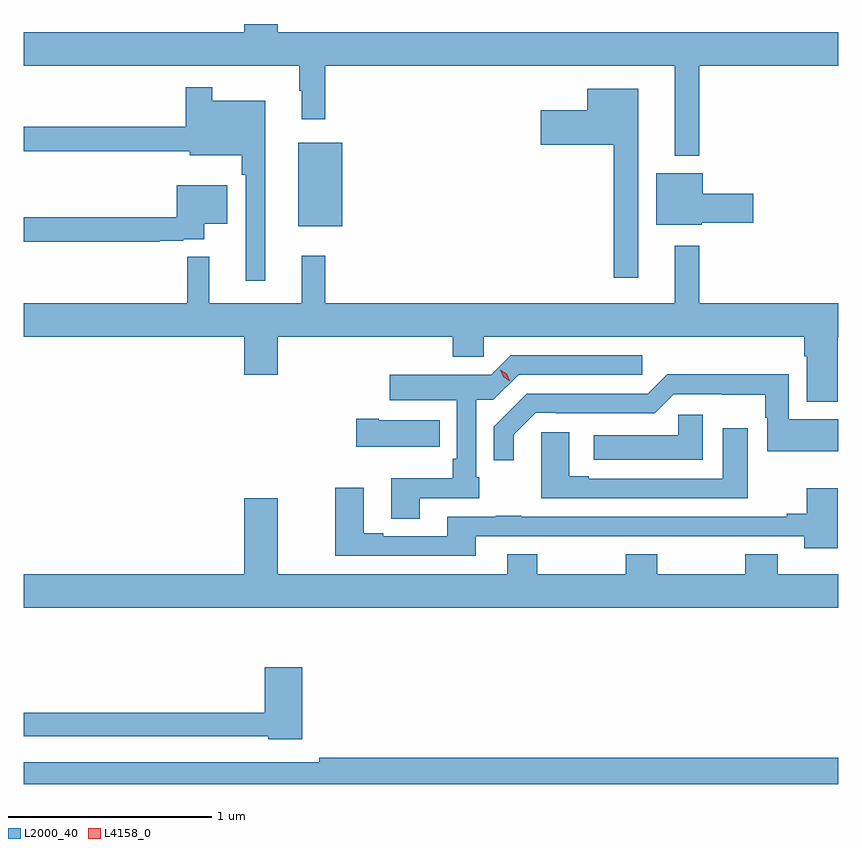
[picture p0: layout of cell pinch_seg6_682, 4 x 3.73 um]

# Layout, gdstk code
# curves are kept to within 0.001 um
import gdstk
lib = gdstk.Library(unit=1e-6, precision=1e-09)
def R(c, l, rs):  # rectangles x0, y0, x1, y1
    for r in rs: c.add(gdstk.rectangle(r[:2], r[2:], *l))
def P(c, l, *ps):  # polygons
    for p in ps: c.add(gdstk.Polygon(p, *l))
L2000_40 = (2000, 40)
L4158_0 = (4158, 0)

pinch_seg6_682 = lib.new_cell('pinch_seg6_682')
R(pinch_seg6_682, L2000_40, [(476.963,929.231,477.178,929.641)])
P(pinch_seg6_682, L2000_40, [(476.86,930.224),(476.696,930.224),(476.696,930.184),(475.614,930.184),(475.614,930.02),(476.967,930.02),(476.967,929.897),(476.978,929.897),(476.978,929.757),(477.095,929.757),(477.095,930.02),(478.811,930.02),(478.811,929.576),(478.933,929.576),(478.933,930.02),(479.614,930.02),(479.614,930.184),(476.86,930.184)],
  [(476.8,929.848),(476.539,929.848),(476.539,929.914),(476.41,929.914),(476.41,929.719),(475.614,929.719),(475.614,929.598),(476.429,929.598),(476.429,929.579),(476.683,929.579),(476.683,929.483),(476.703,929.483),(476.703,928.962),(476.8,928.962)],
  [(478.633,929.905),(478.382,929.905),(478.382,929.8),(478.152,929.8),(478.152,929.63),(478.512,929.63),(478.512,928.977),(478.633,928.977)],
  [(478.944,929.248),(479.197,929.248),(479.197,929.39),(478.948,929.39),(478.948,929.491),(478.721,929.491),(478.721,929.237),(478.944,929.237)],
  [(476.282,929.16),(476.396,929.16),(476.396,929.166),(476.5,929.166),(476.5,929.243),(476.614,929.243),(476.614,929.431),(476.366,929.431),(476.366,929.275),(475.614,929.275),(475.614,929.154),(476.282,929.154)],
  [(477.095,929.086),(476.978,929.086),(476.978,928.852),(476.525,928.852),(476.525,929.081),(476.416,929.081),(476.416,928.852),(475.614,928.852),(475.614,928.688),(476.696,928.688),(476.696,928.5),(476.86,928.5),(476.86,928.688),(477.722,928.688),(477.722,928.59),(477.873,928.59),(477.873,928.688),(479.447,928.688),(479.447,928.592),(479.459,928.592),(479.459,928.368),(479.612,928.368),(479.612,928.688),(479.614,928.688),(479.614,928.852),(478.933,928.852),(478.933,929.134),(478.811,929.134),(478.811,928.852),(477.095,928.852)],
  [(477.559,927.894),(477.85,927.894),(477.85,927.997),(477.837,927.997),(477.837,928.377),(477.921,928.377),(478.044,928.5),(478.651,928.5),(478.651,928.596),(478.007,928.596),(477.911,928.5),(477.411,928.501),(477.411,928.376),(477.741,928.376),(477.741,928.087),(477.721,928.087),(477.721,927.991),(477.419,927.991),(477.419,927.793),(477.559,927.793)],
  [(478.021,928.207),(478.128,928.314),(478.228,928.314),(478.228,928.311),(478.713,928.311),(478.806,928.404),(479.257,928.403),(479.257,928.29),(479.267,928.29),(479.267,928.124),(479.614,928.124),(479.614,928.282),(479.371,928.282),(479.371,928.502),(478.775,928.502),(478.68,928.407),(478.085,928.407),(477.922,928.244),(477.922,928.08),(478.021,928.08)],
  [(478.948,928.303),(478.828,928.303),(478.828,928.204),(478.413,928.204),(478.413,928.082),(478.948,928.082)],
  [(477.656,928.276),(477.358,928.276),(477.358,928.284),(477.246,928.284),(477.246,928.148),(477.656,928.148)],
  [(479.17,928.237),(479.048,928.237),(479.048,927.99),(478.39,927.99),(478.39,928.003),(478.294,928.003),(478.294,928.219),(478.156,928.219),(478.156,927.894),(479.17,927.894)],
  [(477.835,927.708),(478.225,927.708),(478.225,927.707),(478.481,927.707),(478.481,927.708),(478.813,927.708),(478.813,927.707),(479.069,927.707),(479.069,927.708),(479.447,927.708),(479.447,927.648),(479.612,927.648),(479.612,927.943),(479.459,927.943),(479.459,927.817),(479.363,927.817),(479.363,927.804),(478.058,927.804),(478.058,927.809),(477.931,927.809),(477.931,927.804),(477.695,927.804),(477.695,927.708),(477.379,927.708),(477.379,927.721),(477.283,927.721),(477.283,927.946),(477.143,927.946),(477.143,927.612),(477.835,927.612)],
  [(479.614,927.52),(479.318,927.52),(479.318,927.619),(479.158,927.619),(479.158,927.52),(478.725,927.52),(478.725,927.619),(478.57,927.619),(478.57,927.52),(478.137,927.52),(478.137,927.619),(477.989,927.619),(477.989,927.52),(476.86,927.52),(476.86,927.895),(476.696,927.895),(476.696,927.52),(475.614,927.52),(475.614,927.356),(479.614,927.356)],
  [(476.981,927.064),(476.798,927.064),(476.798,926.84),(475.614,926.84),(475.614,926.724),(476.814,926.724),(476.814,926.711),(476.981,926.711)],
  [(479.614,926.618),(477.064,926.618),(477.064,926.598),(475.614,926.598),(475.614,926.49),(479.614,926.49)])
P(pinch_seg6_682, L4158_0, [(478,928.47),(477.969,928.492),(477.954,928.526),(477.954,928.526),(477.954,928.526),(477.985,928.505),(478,928.471),(478,928.47)])

lib.write_gds('pinch_seg6_682.gds')
